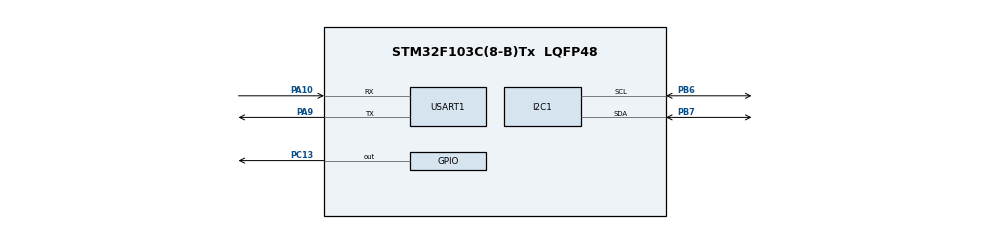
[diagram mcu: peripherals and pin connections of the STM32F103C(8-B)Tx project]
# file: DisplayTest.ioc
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I2C1.I2C_Mode=I2C_Fast
Mcu.Family=STM32F1
Mcu.Name=STM32F103C(8-B)Tx
Mcu.Package=LQFP48
NVIC.PriorityGroup=NVIC_PRIORITYGROUP_4
PA10.Mode=Asynchronous
PA10.Signal=USART1_RX
PA13.Mode=Serial_Wire
PA13.Signal=SYS_JTMS-SWDIO
PA14.Mode=Serial_Wire
PA14.Signal=SYS_JTCK-SWCLK
PA9.Mode=Asynchronous
PA9.Signal=USART1_TX
PB6.Mode=I2C
PB6.Signal=I2C1_SCL
PB7.Mode=I2C
PB7.Signal=I2C1_SDA
PC13-TAMPER-RTC.Signal=GPIO_Output
PD0-OSC_IN.Mode=HSE-External-Oscillator
PD0-OSC_IN.Signal=RCC_OSC_IN
PD1-OSC_OUT.Mode=HSE-External-Oscillator
PD1-OSC_OUT.Signal=RCC_OSC_OUT
ProjectManager.HeapSize=0x200
ProjectManager.StackSize=0x400
ProjectManager.TargetToolchain=STM32CubeIDE
RCC.APB1Freq_Value=8000000
RCC.APB2Freq_Value=8000000
USART1.VirtualMode=VM_ASYNC
board=custom

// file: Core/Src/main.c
/* USER CODE BEGIN Header */
/**
  ******************************************************************************
  * @file           : main.c
  * @brief          : Main program body
  ******************************************************************************
  * @attention
  *
  * Copyright (c) 2023 STMicroelectronics.
  * All rights reserved.
  *
  * This software is licensed under terms that can be found in the LICENSE file
  * in the root directory of this software component.
  * If no LICENSE file comes with this software, it is provided AS-IS.
  *
  ******************************************************************************
  */
/* USER CODE END Header */
#include "main.h"

/* USER CODE BEGIN Includes */
#include "fonts.h"
#include "ssd1306.h"
/* USER CODE END Includes */

I2C_HandleTypeDef hi2c1;

UART_HandleTypeDef huart1;

void SystemClock_Config(void);
static void MX_GPIO_Init(void);
static void MX_I2C1_Init(void);
static void MX_USART1_UART_Init(void);

int main(void)
{

  /* MCU Configuration--------------------------------------------------------*/

  /* Reset of all peripherals, Initializes the Flash interface and the Systick. */
  HAL_Init();

  /* Configure the system clock */
  SystemClock_Config();

  /* Initialize all configured peripherals */
  MX_GPIO_Init();
  MX_I2C1_Init();
  MX_USART1_UART_Init();
  /* USER CODE BEGIN 2 */
  	SSD1306_Init();
	char snum[5];

	SSD1306_GotoXY (0,0);
	SSD1306_Puts ("Hola", &Font_11x18, 1);
	SSD1306_GotoXY (0, 30);
	SSD1306_Puts ("Amor", &Font_11x18, 1);
	SSD1306_UpdateScreen();
	HAL_Delay (1000);

	SSD1306_ScrollRight(0,7);
	HAL_Delay(3000);
	SSD1306_ScrollLeft(0,7);
	HAL_Delay(3000);
	SSD1306_Stopscroll();
	SSD1306_Clear();
	SSD1306_GotoXY (35,0);
	SSD1306_Puts ("Tiempo", &Font_11x18, 1);
  /* USER CODE END 2 */

  /* Infinite loop */
  while (1)
  {
	  for ( int x = 1; x <= 10000 ; x++ )
	  	{
	  		itoa(x, snum, 10);
	  		SSD1306_GotoXY (0, 30);
	  		SSD1306_Puts ("             ", &Font_16x26, 1);
	  		SSD1306_UpdateScreen();
	  		if(x < 10) {
	  			SSD1306_GotoXY (53, 30);  // 1 DIGIT
	  		}
	  		else if (x < 100 ) {
	  			SSD1306_GotoXY (45, 30);  // 2 DIGITS
	  		}
	  		else if (x < 1000 ) {
	  			SSD1306_GotoXY (37, 30);  // 3 DIGITS
	  		}
	  		else {
	  			SSD1306_GotoXY (30, 30);  // 4 DIGIS
	  		}
	  		SSD1306_Puts (snum, &Font_16x26, 1);
	  		SSD1306_UpdateScreen();
	  		HAL_Delay (500);
		}
  }
}

void SystemClock_Config(void)
{
  RCC_OscInitTypeDef RCC_OscInitStruct = {0};
  RCC_ClkInitTypeDef RCC_ClkInitStruct = {0};

  /** Initializes the RCC Oscillators according to the specified parameters
  * in the RCC_OscInitTypeDef structure.
  */
  RCC_OscInitStruct.OscillatorType = RCC_OSCILLATORTYPE_HSI;
  RCC_OscInitStruct.HSIState = RCC_HSI_ON;
  RCC_OscInitStruct.HSICalibrationValue = RCC_HSICALIBRATION_DEFAULT;
  RCC_OscInitStruct.PLL.PLLState = RCC_PLL_NONE;
  if (HAL_RCC_OscConfig(&RCC_OscInitStruct) != HAL_OK)
  {
    Error_Handler();
  }

  /** Initializes the CPU, AHB and APB buses clocks
  */
  RCC_ClkInitStruct.ClockType = RCC_CLOCKTYPE_HCLK|RCC_CLOCKTYPE_SYSCLK
                              |RCC_CLOCKTYPE_PCLK1|RCC_CLOCKTYPE_PCLK2;
  RCC_ClkInitStruct.SYSCLKSource = RCC_SYSCLKSOURCE_HSI;
  RCC_ClkInitStruct.AHBCLKDivider = RCC_SYSCLK_DIV1;
  RCC_ClkInitStruct.APB1CLKDivider = RCC_HCLK_DIV1;
  RCC_ClkInitStruct.APB2CLKDivider = RCC_HCLK_DIV1;

  if (HAL_RCC_ClockConfig(&RCC_ClkInitStruct, FLASH_LATENCY_0) != HAL_OK)
  {
    Error_Handler();
  }
}

static void MX_I2C1_Init(void)
{

  hi2c1.Instance = I2C1;
  hi2c1.Init.ClockSpeed = 400000;
  hi2c1.Init.DutyCycle = I2C_DUTYCYCLE_2;
  hi2c1.Init.OwnAddress1 = 0;
  hi2c1.Init.AddressingMode = I2C_ADDRESSINGMODE_7BIT;
  hi2c1.Init.DualAddressMode = I2C_DUALADDRESS_DISABLE;
  hi2c1.Init.OwnAddress2 = 0;
  hi2c1.Init.GeneralCallMode = I2C_GENERALCALL_DISABLE;
  hi2c1.Init.NoStretchMode = I2C_NOSTRETCH_DISABLE;
  if (HAL_I2C_Init(&hi2c1) != HAL_OK)
  {
    Error_Handler();
  }

}

static void MX_USART1_UART_Init(void)
{

  huart1.Instance = USART1;
  huart1.Init.BaudRate = 115200;
  huart1.Init.WordLength = UART_WORDLENGTH_8B;
  huart1.Init.StopBits = UART_STOPBITS_1;
  huart1.Init.Parity = UART_PARITY_NONE;
  huart1.Init.Mode = UART_MODE_TX_RX;
  huart1.Init.HwFlowCtl = UART_HWCONTROL_NONE;
  huart1.Init.OverSampling = UART_OVERSAMPLING_16;
  if (HAL_UART_Init(&huart1) != HAL_OK)
  {
    Error_Handler();
  }

}

static void MX_GPIO_Init(void)
{
  GPIO_InitTypeDef GPIO_InitStruct = {0};

  /* GPIO Ports Clock Enable */
  __HAL_RCC_GPIOC_CLK_ENABLE();
  __HAL_RCC_GPIOD_CLK_ENABLE();
  __HAL_RCC_GPIOA_CLK_ENABLE();
  __HAL_RCC_GPIOB_CLK_ENABLE();

  /*Configure GPIO pin Output Level */
  HAL_GPIO_WritePin(GPIOC, GPIO_PIN_13, GPIO_PIN_RESET);

  /*Configure GPIO pin : PC13 */
  GPIO_InitStruct.Pin = GPIO_PIN_13;
  GPIO_InitStruct.Mode = GPIO_MODE_OUTPUT_PP;
  GPIO_InitStruct.Pull = GPIO_NOPULL;
  GPIO_InitStruct.Speed = GPIO_SPEED_FREQ_LOW;
  HAL_GPIO_Init(GPIOC, &GPIO_InitStruct);

}

void Error_Handler(void)
{
  __disable_irq();
  while (1)
  {
  }
}
